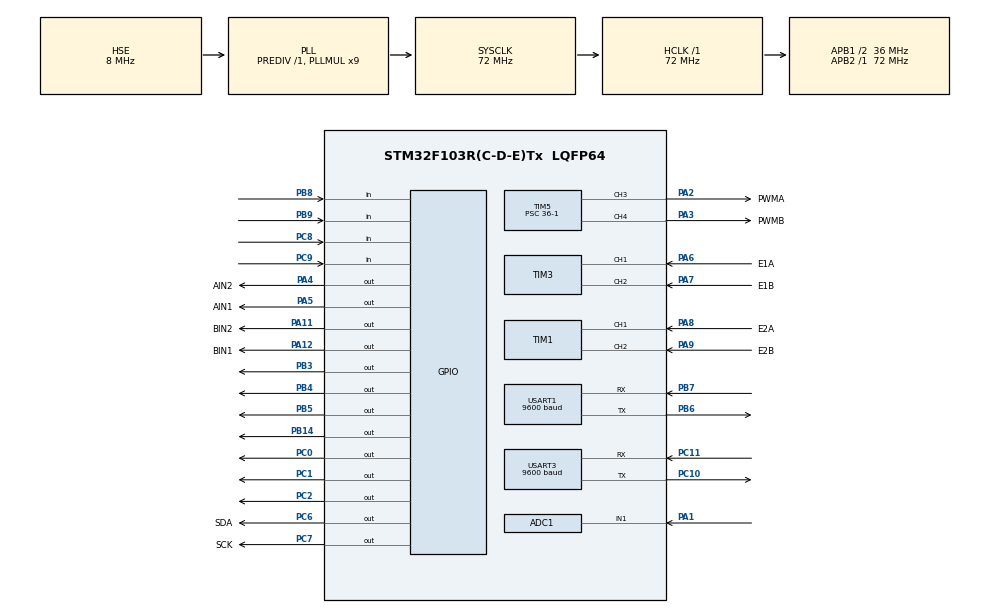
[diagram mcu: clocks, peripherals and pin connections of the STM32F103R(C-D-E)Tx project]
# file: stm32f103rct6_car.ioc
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ADC1.Channel-0\#ChannelRegularConversion=ADC_CHANNEL_1
ADC1.NbrOfConversionFlag=1
ADC1.Rank-0\#ChannelRegularConversion=1
ADC1.SamplingTime-0\#ChannelRegularConversion=ADC_SAMPLETIME_1CYCLE_5
ADC1.master=1
Dma.Request0=USART1_TX
Dma.Request1=USART1_RX
Dma.Request2=USART3_RX
Dma.Request3=USART3_TX
Dma.USART1_RX.1.Direction=DMA_PERIPH_TO_MEMORY
Dma.USART1_RX.1.Instance=DMA1_Channel5
Dma.USART1_RX.1.MemDataAlignment=DMA_MDATAALIGN_BYTE
Dma.USART1_RX.1.MemInc=DMA_MINC_ENABLE
Dma.USART1_RX.1.Mode=DMA_NORMAL
Dma.USART1_RX.1.PeriphDataAlignment=DMA_PDATAALIGN_BYTE
Dma.USART1_RX.1.PeriphInc=DMA_PINC_DISABLE
Dma.USART1_RX.1.Priority=DMA_PRIORITY_LOW
Dma.USART1_TX.0.Direction=DMA_MEMORY_TO_PERIPH
Dma.USART1_TX.0.Instance=DMA1_Channel4
Dma.USART1_TX.0.MemDataAlignment=DMA_MDATAALIGN_BYTE
Dma.USART1_TX.0.MemInc=DMA_MINC_ENABLE
Dma.USART1_TX.0.Mode=DMA_NORMAL
Dma.USART1_TX.0.PeriphDataAlignment=DMA_PDATAALIGN_BYTE
Dma.USART1_TX.0.PeriphInc=DMA_PINC_DISABLE
Dma.USART1_TX.0.Priority=DMA_PRIORITY_LOW
Dma.USART3_RX.2.Direction=DMA_PERIPH_TO_MEMORY
Dma.USART3_RX.2.Instance=DMA1_Channel3
Dma.USART3_RX.2.MemDataAlignment=DMA_MDATAALIGN_BYTE
Dma.USART3_RX.2.MemInc=DMA_MINC_ENABLE
Dma.USART3_RX.2.Mode=DMA_NORMAL
Dma.USART3_RX.2.PeriphDataAlignment=DMA_PDATAALIGN_BYTE
Dma.USART3_RX.2.PeriphInc=DMA_PINC_DISABLE
Dma.USART3_RX.2.Priority=DMA_PRIORITY_LOW
Dma.USART3_TX.3.Direction=DMA_MEMORY_TO_PERIPH
Dma.USART3_TX.3.Instance=DMA1_Channel2
Dma.USART3_TX.3.MemDataAlignment=DMA_MDATAALIGN_BYTE
Dma.USART3_TX.3.MemInc=DMA_MINC_ENABLE
Dma.USART3_TX.3.Mode=DMA_NORMAL
Dma.USART3_TX.3.PeriphDataAlignment=DMA_PDATAALIGN_BYTE
Dma.USART3_TX.3.PeriphInc=DMA_PINC_DISABLE
Dma.USART3_TX.3.Priority=DMA_PRIORITY_LOW
Mcu.Family=STM32F1
Mcu.Name=STM32F103R(C-D-E)Tx
Mcu.Package=LQFP64
NVIC.DMA1_Channel2_IRQn=true\:0\:0\:false\:false\:true\:false\:true\:true
NVIC.DMA1_Channel3_IRQn=true\:0\:0\:false\:false\:true\:false\:true\:true
NVIC.DMA1_Channel4_IRQn=true\:0\:0\:false\:false\:true\:false\:true\:true
NVIC.DMA1_Channel5_IRQn=true\:0\:0\:false\:false\:true\:false\:true\:true
NVIC.PriorityGroup=NVIC_PRIORITYGROUP_4
NVIC.TIM2_IRQn=true\:0\:0\:false\:false\:true\:true\:true\:true
NVIC.USART1_IRQn=true\:0\:0\:false\:false\:true\:true\:true\:true
NVIC.USART3_IRQn=true\:0\:0\:false\:false\:true\:true\:true\:true
PA1.Signal=ADCx_IN1
PA11.GPIO_Label=BIN2
PA11.Signal=GPIO_Output
PA12.GPIO_Label=BIN1
PA12.Signal=GPIO_Output
PA13.Mode=Serial_Wire
PA13.Signal=SYS_JTMS-SWDIO
PA14.Mode=Serial_Wire
PA14.Signal=SYS_JTCK-SWCLK
PA2.GPIO_Label=PWMA
PA2.Signal=S_TIM5_CH3
PA3.GPIO_Label=PWMB
PA3.Signal=S_TIM5_CH4
PA4.GPIO_Label=AIN2
PA4.PinState=GPIO_PIN_SET
PA4.Signal=GPIO_Output
PA5.GPIO_Label=AIN1
PA5.PinState=GPIO_PIN_SET
PA5.Signal=GPIO_Output
PA6.GPIO_Label=E1A
PA6.Signal=S_TIM3_CH1
PA7.GPIO_Label=E1B
PA7.Signal=S_TIM3_CH2
PA8.GPIO_Label=E2A
PA8.Signal=S_TIM1_CH1
PA9.GPIO_Label=E2B
PA9.Signal=S_TIM1_CH2
PB14.PinState=GPIO_PIN_SET
PB14.Signal=GPIO_Output
PB3.GPIO_ModeDefaultOutputPP=GPIO_MODE_OUTPUT_PP
PB3.GPIO_PuPd=GPIO_NOPULL
PB3.PinState=GPIO_PIN_RESET
PB3.Signal=GPIO_Output
PB4.GPIO_ModeDefaultOutputPP=GPIO_MODE_OUTPUT_PP
PB4.GPIO_PuPd=GPIO_NOPULL
PB4.PinState=GPIO_PIN_RESET
PB4.Signal=GPIO_Output
PB5.GPIO_ModeDefaultOutputPP=GPIO_MODE_OUTPUT_PP
PB5.GPIO_PuPd=GPIO_NOPULL
PB5.PinState=GPIO_PIN_RESET
PB5.Signal=GPIO_Output
PB6.Mode=Asynchronous
PB6.Signal=USART1_TX
PB7.Mode=Asynchronous
PB7.Signal=USART1_RX
PB8.GPIO_PuPd=GPIO_PULLUP
PB8.Signal=GPIO_Input
PB9.GPIO_PuPd=GPIO_PULLUP
PB9.Signal=GPIO_Input
PC0.PinState=GPIO_PIN_SET
PC0.Signal=GPIO_Output
PC1.PinState=GPIO_PIN_SET
PC1.Signal=GPIO_Output
PC10.Mode=Asynchronous
PC10.Signal=USART3_TX
PC11.Mode=Asynchronous
PC11.Signal=USART3_RX
PC2.PinState=GPIO_PIN_SET
PC2.Signal=GPIO_Output
PC6.GPIO_Label=SDA
PC6.GPIO_Speed=GPIO_SPEED_FREQ_HIGH
PC6.Signal=GPIO_Output
PC7.GPIO_Label=SCK
PC7.GPIO_Speed=GPIO_SPEED_FREQ_HIGH
PC7.Signal=GPIO_Output
PC8.GPIO_PuPd=GPIO_PULLUP
PC8.Signal=GPIO_Input
PC9.GPIO_PuPd=GPIO_PULLUP
PC9.Signal=GPIO_Input
PD0-OSC_IN.Mode=HSE-External-Oscillator
PD0-OSC_IN.Signal=RCC_OSC_IN
PD1-OSC_OUT.Mode=HSE-External-Oscillator
PD1-OSC_OUT.Signal=RCC_OSC_OUT
ProjectManager.HeapSize=0x200
ProjectManager.StackSize=0x400
ProjectManager.TargetToolchain=MDK-ARM V5.32
RCC.ADCPresc=RCC_ADCPCLK2_DIV6
RCC.AHBFreq_Value=72000000
RCC.APB1CLKDivider=RCC_HCLK_DIV2
RCC.APB1Freq_Value=36000000
RCC.APB1TimFreq_Value=72000000
RCC.APB2Freq_Value=72000000
RCC.APB2TimFreq_Value=72000000
RCC.HCLKFreq_Value=72000000
RCC.PLLMUL=RCC_PLL_MUL9
RCC.PLLSourceVirtual=RCC_PLLSOURCE_HSE
RCC.SYSCLKFreq_VALUE=72000000
RCC.SYSCLKSource=RCC_SYSCLKSOURCE_PLLCLK
RCC.USBFreq_Value=72000000
SH.ADCx_IN1.0=ADC1_IN1,IN1
SH.S_TIM1_CH1.0=TIM1_CH1,Encoder_Interface
SH.S_TIM1_CH2.0=TIM1_CH2,Encoder_Interface
SH.S_TIM3_CH1.0=TIM3_CH1,Encoder_Interface
SH.S_TIM3_CH2.0=TIM3_CH2,Encoder_Interface
SH.S_TIM5_CH3.0=TIM5_CH3,PWM Generation3 CH3
SH.S_TIM5_CH4.0=TIM5_CH4,PWM Generation4 CH4
TIM1.EncoderMode=TIM_ENCODERMODE_TI12
TIM1.IC1Filter=8
TIM1.IC2Filter=8
TIM2.Period=1000-1
TIM2.Prescaler=72-1
TIM3.EncoderMode=TIM_ENCODERMODE_TI12
TIM3.IC1Filter=6
TIM3.IC2Filter=6
TIM5.Channel-PWM\ Generation2\ CH2=TIM_CHANNEL_2
TIM5.Channel-PWM\ Generation3\ CH3=TIM_CHANNEL_3
TIM5.Channel-PWM\ Generation4\ CH4=TIM_CHANNEL_4
TIM5.Period=100-1
TIM5.Prescaler=36-1
USART1.BaudRate=9600
USART1.VirtualMode=VM_ASYNC
USART3.BaudRate=9600
USART3.VirtualMode=VM_ASYNC
VP_TIM2_VS_ClockSourceINT.Mode=Internal
board=custom

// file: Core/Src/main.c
/* USER CODE BEGIN Header */
/**
  ******************************************************************************
  * @file           : main.c
  * @brief          : Main program body
  ******************************************************************************
  * @attention
  *
  * Copyright (c) 2025 STMicroelectronics.
  * All rights reserved.
  *
  * This software is licensed under terms that can be found in the LICENSE file
  * in the root directory of this software component.
  * If no LICENSE file comes with this software, it is provided AS-IS.
  *
  ******************************************************************************
  */
/* USER CODE END Header */
#include "main.h"
#include "adc.h"
#include "dma.h"
#include "tim.h"
#include "usart.h"
#include "gpio.h"

/* USER CODE BEGIN Includes */
#include "headfile.h"
#include <stdlib.h>
#include <stdio.h>
#include <string.h>
/* USER CODE END Includes */

/* USER CODE BEGIN PD */
#define SensorNum 5
#define TARGET_SPEED 15.0f

// USART3/ESP32 safety gate:
// 1) Ignore USART3 input shortly after boot, avoiding ESP32 boot logs/noise.
// 2) Only accept framed car commands, not raw single characters.
#define USART3_STARTUP_IGNORE_MS 2000U
#define ACCEPT_LEGACY_SINGLE_CHAR_CMD 0

// Yaw closed-loop hold for straight forward/backward movement.
// If the car becomes more biased after correction, flip
// YAW_HOLD_FORWARD_REVERSE_CORRECTION between 1 and 0 first.
#define YAW_HOLD_TEST_DISABLED 0
#define YAW_HOLD_DEADBAND_DEG 1.5f
#define YAW_HOLD_CORRECTION_MAX 5.0f
#define YAW_HOLD_INTEGRAL_MAX 80.0f
#define YAW_HOLD_KP 0.30f
#define YAW_HOLD_KI 0.02f
#define YAW_HOLD_KD 0.06f
#define YAW_HOLD_FORWARD_REVERSE_CORRECTION 1
/* USER CODE END PD */

/* USER CODE BEGIN PV */
// 全局变量定义
uint8_t SensorData[8] = {0, 0, 0, 0, 0, 0, 0, 0};
WitAngleData angle;
unsigned char rx_buff[256] = {0};
unsigned short Anolog[8] = {0};
unsigned short white[8] = {1988,1681,1753,1489,2098,2494,2098,1395};
unsigned short black[8] = {225,291,230,294,234,323,239,296};
unsigned short Normal[8];
unsigned char Digtal;

uint8_t KeyNum;
WorkMode_t current_mode = MODE_STOP;  // 当前工作模式
char current_cmd = 'Z';               // 蓝牙当前命令
char display_info[32] = "Stop";       // 显示信息
volatile uint8_t line_follow_update_pending = 0;
volatile uint8_t yaw_hold_update_pending = 0;
volatile uint8_t yaw_hold_enabled = 0;
float yaw_hold_target = 0.0f;
float yaw_hold_last_error = 0.0f;
float yaw_hold_integral = 0.0f;
uint32_t yaw_hold_last_tick = 0;

// PID控制�?
PID Innerpid_L = {
    .Kp = 1.5f, .Ki = 0.01f, .Kd = 0.0f,
    .Error0 = 0.0f, .Error1 = 0.0f, .ErrorInt = 0.0f,
    .OutMax = 150.0f, .OutMin = -150.0f,
    .Target = TARGET_SPEED, .Actual = 0.0f, .Out = 0.0f
};

PID Innerpid_R = {
    .Kp = 1.5f, .Ki = 0.01f, .Kd = 0.0f,
    .Error0 = 0.0f, .Error1 = 0.0f, .ErrorInt = 0.0f,
    .OutMax = 150.0f, .OutMin = -150.0f,
    .Target = TARGET_SPEED, .Actual = 0.0f, .Out = 0.0f
};

PID Outerpid = {
    .Kp = 2.0f, .Ki = 0.0f, .Kd = 0.5f,
    .Error0 = 0.0f, .Error1 = 0.0f, .ErrorInt = 0.0f,
    .OutMax = 30.0f, .OutMin = -30.0f,
    .Target = 0.0f, .Actual = 0.0f, .Out = 0.0f
};

PID imupid = {
    .Kp = 0.5f, .Ki = 0.0f, .Kd = 0.3f,
    .Error0 = 0, .Error1 = 0, .ErrorInt = 0.0f,
    .OutMax = 3.0f, .OutMin = -3.0f,
    .Target = -113.0f, .Actual = -113.0f, .Out = 0.0f
};

/* USER CODE END PV */

void SystemClock_Config(void);
/* USER CODE BEGIN PFP */
void ProcessBluetoothCommand(char cmd);
void ExecuteCommand(char cmd);
void ExecuteLastCommand(void);
void UpdateLineFollowing(void);
void UpdateDisplay(void);
uint8_t TryProcessProtocolFrame(void);
uint8_t TryExtractCarCommand(const char *frame, char *cmd);
void SendCarParams(void);
void SendCarState(char cmd);
const char* GetCommandStateName(char cmd);
void StartYawHold(void);
void StopYawHold(void);
uint8_t IsYawHoldCommand(char cmd);
float NormalizeYawError(float error);
void UpdateYawHoldControl(void);
/* USER CODE END PFP */

int main(void)
{
    /* USER CODE BEGIN 1 */
    uint32_t usart3_accept_tick = 0;
    /* USER CODE END 1 */

    /* MCU Configuration--------------------------------------------------------*/
    HAL_Init();
    SystemClock_Config();

    /* Initialize all configured peripherals */
    MX_GPIO_Init();
    MX_DMA_Init();
    MX_TIM1_Init();
    MX_TIM2_Init();
    MX_TIM3_Init();
    MX_TIM5_Init();
    MX_USART1_UART_Init();
    MX_ADC1_Init();
    MX_USART3_UART_Init();

    /* USER CODE BEGIN 2 */
    // 初始化编码器
    HAL_TIM_Encoder_Start(&htim3, TIM_CHANNEL_ALL);
    HAL_TIM_Encoder_Start(&htim1, TIM_CHANNEL_ALL);

    // 初始化PWM输出
    HAL_TIM_PWM_Start(&htim5, TIM_CHANNEL_3);
    HAL_TIM_PWM_Start(&htim5, TIM_CHANNEL_4);

    // 初始化OLED
    OLED_Init();
    OLED_Update();

    // 初始化串口和蓝牙
    Com_usart_Init();

    // 初始化陀螺仪
    WitMotion_Init(&huart1);
    angle = WitMotion_GetAngle();
    imupid.Target = angle.yaw;
    WitMotion_ConfigOutputRate(RRATE_20HZ);
    WitMotion_ConfigContent(RSW_ANGLE | RSW_GYRO);

    // 设置电机方向
    HAL_GPIO_WritePin(GPIOA, GPIO_PIN_4, GPIO_PIN_RESET);
    HAL_GPIO_WritePin(GPIOA, GPIO_PIN_5, GPIO_PIN_SET);
    HAL_GPIO_WritePin(GPIOA, GPIO_PIN_11, GPIO_PIN_RESET);
    HAL_GPIO_WritePin(GPIOA, GPIO_PIN_12, GPIO_PIN_SET);

    // 初始化占空比
    __HAL_TIM_SET_COMPARE(&htim5, TIM_CHANNEL_3, 0);
    __HAL_TIM_SET_COMPARE(&htim5, TIM_CHANNEL_4, 0);

    // 初始化灰度传感器
    No_MCU_Sensor sensor;
    No_MCU_Ganv_Sensor_Init(&sensor, white, black);
    HAL_Delay(100);
    No_Mcu_Ganv_Sensor_Task_Without_tick(&sensor);
    Digtal = Get_Digtal_For_User(&sensor);

    // 初始化蜂鸣器
    HAL_GPIO_WritePin(GPIOB, GPIO_PIN_14, GPIO_PIN_SET);

    // 启动定时�?
    HAL_TIM_Base_Start_IT(&htim2);

    // 初始状态停止，并丢弃上电阶段 USART3 噪声/ESP32 启动日志
    current_mode = MODE_STOP;
    current_cmd = CMD_STOP;
    StopYawHold();
    MoveStop();
    Bluetooth_SetLastValidCommand(CMD_STOP);
    Bluetooth_ClearFlag();
    usart3_accept_tick = HAL_GetTick() + USART3_STARTUP_IGNORE_MS;

    /* USER CODE END 2 */

    /* Infinite loop */
    while (1)
    {
        // 按键处理
        KeyNum = Key_GetNum();
        if (KeyNum == 1) {
            // 切换到停止模�?
            current_mode = MODE_STOP;
            MoveStop();
            strcpy(display_info, "Stop Mode");
            Bluetooth_SendString("Mode: Stop\r\n");
        } else if (KeyNum == 2) {
            // 手动进入蓝牙控制模式：清掉历史/噪声命令，避免一进模式就误动作。
            current_mode = MODE_BLUETOOTH;
            current_cmd = CMD_STOP;
            StopYawHold();
            MoveStop();
            Bluetooth_SetLastValidCommand(CMD_STOP);
            Bluetooth_ClearFlag();
            strcpy(display_info, "Bluetooth Mode");
            Bluetooth_SendString("Mode: Bluetooth Control\r\n");
        } else if (KeyNum == 3) {
            // 切换到巡线模�?
            current_mode = MODE_LINE_FOLLOWING;
            strcpy(display_info, "Line Following");
            Bluetooth_SendString("Mode: Line Following\r\n");
        }

        // USART3 command processing.
        // - Framed commands such as CAR:F / #F are accepted in any mode.
        // - Legacy raw single-character commands are accepted only after Key 2
        //   manually enters MODE_BLUETOOTH. This keeps manual Bluetooth usable
        //   while preventing boot noise from auto-moving the car.
        if (Bluetooth_DataReady()) {
            if (HAL_GetTick() < usart3_accept_tick) {
                // ESP32 may print boot logs or leave TX unstable during startup.
                // Drop everything before the guard time expires.
                Bluetooth_ClearFlag();
            } else {
                if (TryProcessProtocolFrame()) {
                    Bluetooth_ClearFlag();
                } else {
                    if (current_mode == MODE_BLUETOOTH && Bluetooth_ProcessCommands()) {
                        while (Bluetooth_HasPendingCommands()) {
                            char command = Bluetooth_GetNextCommand();
                            if (command != 0) {
                                ExecuteCommand(command);
                            }
                        }
                    }
                    Bluetooth_ClearFlag();
                }
            }
        }

        // 灰度传感器数据处�?
        No_Mcu_Ganv_Sensor_Task_Without_tick(&sensor);
        Digtal = Get_Digtal_For_User(&sensor);

        // 陀螺仪数据处理
        if (WitMotion_IsDataUpdated()) {
            angle = WitMotion_GetAngle();
            // 可以在这里添加陀螺仪数据处理逻辑
        }

        // 持续执行蓝牙命令（如果没有收到停止命令）
#if 0
        // Disabled for safety: do not repeat the previous motion command
        // after a stop, otherwise a stale/noisy command may move the car again.
        if (current_mode == MODE_BLUETOOTH &&
            Bluetooth_GetLastValidCommand() != CMD_STOP &&
            current_cmd == CMD_STOP) {
            ExecuteLastCommand();
        }
#endif

        if (current_mode == MODE_BLUETOOTH && yaw_hold_update_pending) {
            yaw_hold_update_pending = 0;
            UpdateYawHoldControl();
        }

        // Run line-following control in the main loop when TIM2 schedules it.
        if (current_mode == MODE_LINE_FOLLOWING && line_follow_update_pending) {
            line_follow_update_pending = 0;
            UpdateLineFollowing();
        }

        // 更新显示
        UpdateDisplay();

        HAL_Delay(20);
    }
}

void SystemClock_Config(void)
{
    // 系统时钟配置
    RCC_OscInitTypeDef RCC_OscInitStruct = {0};
    RCC_ClkInitTypeDef RCC_ClkInitStruct = {0};
    RCC_PeriphCLKInitTypeDef PeriphClkInit = {0};

    RCC_OscInitStruct.OscillatorType = RCC_OSCILLATORTYPE_HSE;
    RCC_OscInitStruct.HSEState = RCC_HSE_ON;
    RCC_OscInitStruct.HSEPredivValue = RCC_HSE_PREDIV_DIV1;
    RCC_OscInitStruct.HSIState = RCC_HSI_ON;
    RCC_OscInitStruct.PLL.PLLState = RCC_PLL_ON;
    RCC_OscInitStruct.PLL.PLLSource = RCC_PLLSOURCE_HSE;
    RCC_OscInitStruct.PLL.PLLMUL = RCC_PLL_MUL9;
    HAL_RCC_OscConfig(&RCC_OscInitStruct);

    RCC_ClkInitStruct.ClockType = RCC_CLOCKTYPE_HCLK|RCC_CLOCKTYPE_SYSCLK
                                |RCC_CLOCKTYPE_PCLK1|RCC_CLOCKTYPE_PCLK2;
    RCC_ClkInitStruct.SYSCLKSource = RCC_SYSCLKSOURCE_PLLCLK;
    RCC_ClkInitStruct.AHBCLKDivider = RCC_SYSCLK_DIV1;
    RCC_ClkInitStruct.APB1CLKDivider = RCC_HCLK_DIV2;
    RCC_ClkInitStruct.APB2CLKDivider = RCC_HCLK_DIV1;
    HAL_RCC_ClockConfig(&RCC_ClkInitStruct, FLASH_LATENCY_2);

    PeriphClkInit.PeriphClockSelection = RCC_PERIPHCLK_ADC;
    PeriphClkInit.AdcClockSelection = RCC_ADCPCLK2_DIV6;
    HAL_RCCEx_PeriphCLKConfig(&PeriphClkInit);
}

/* USER CODE BEGIN 4 */

/**
  * @brief 处理蓝牙命令
  */
void StartYawHold(void)
{
    // Lock the current heading as the straight-line target.
    yaw_hold_target = angle.yaw;
    yaw_hold_last_error = 0.0f;
    yaw_hold_integral = 0.0f;
    yaw_hold_last_tick = HAL_GetTick();
    yaw_hold_enabled = 1;
}

void StopYawHold(void)
{
    yaw_hold_enabled = 0;
    yaw_hold_update_pending = 0;
    yaw_hold_last_error = 0.0f;
    yaw_hold_integral = 0.0f;
    yaw_hold_last_tick = 0;
}

uint8_t IsYawHoldCommand(char cmd)
{
    return (cmd == CMD_FORWARD || cmd == CMD_BACKWARD);
}

float NormalizeYawError(float error)
{
    while (error > 180.0f) error -= 360.0f;
    while (error < -180.0f) error += 360.0f;
    return error;
}

void UpdateYawHoldControl(void)
{
    if (!yaw_hold_enabled || !IsYawHoldCommand(current_cmd)) {
        return;
    }

    CarMotionParams_t params = CarMotion_GetParams();
    int base_speed = params.forward_speed;

    uint32_t now = HAL_GetTick();
    float dt = 0.1f;
    if (yaw_hold_last_tick != 0 && now >= yaw_hold_last_tick) {
        dt = (float)(now - yaw_hold_last_tick) / 1000.0f;
        if (dt < 0.01f) dt = 0.01f;
        if (dt > 0.5f) dt = 0.1f;
    }
    yaw_hold_last_tick = now;

    float error = NormalizeYawError(yaw_hold_target - angle.yaw);

    // Small deadband avoids continuous left-right hunting around the target.
    if (error > -YAW_HOLD_DEADBAND_DEG && error < YAW_HOLD_DEADBAND_DEG) {
        yaw_hold_last_error = error;
        yaw_hold_integral = 0.0f;
        if (current_cmd == CMD_FORWARD) {
            SetMotor(base_speed, base_speed);
        } else if (current_cmd == CMD_BACKWARD) {
            SetMotor(-base_speed, -base_speed);
        }
        return;
    }

    yaw_hold_integral += error * dt;
    if (yaw_hold_integral > YAW_HOLD_INTEGRAL_MAX) yaw_hold_integral = YAW_HOLD_INTEGRAL_MAX;
    if (yaw_hold_integral < -YAW_HOLD_INTEGRAL_MAX) yaw_hold_integral = -YAW_HOLD_INTEGRAL_MAX;

    float derivative = (error - yaw_hold_last_error) / dt;
    yaw_hold_last_error = error;

    float correction = YAW_HOLD_KP * error +
                       YAW_HOLD_KI * yaw_hold_integral +
                       YAW_HOLD_KD * derivative;

    if (correction > YAW_HOLD_CORRECTION_MAX) correction = YAW_HOLD_CORRECTION_MAX;
    if (correction < -YAW_HOLD_CORRECTION_MAX) correction = -YAW_HOLD_CORRECTION_MAX;

    int correction_pwm = (correction >= 0.0f) ?
                         (int)(correction + 0.5f) :
                         (int)(correction - 0.5f);

    if (current_cmd == CMD_FORWARD) {
#if YAW_HOLD_FORWARD_REVERSE_CORRECTION
        // Current test direction: positive correction reduces left wheel and
        // increases right wheel. If the car corrects farther away from target,
        // set YAW_HOLD_FORWARD_REVERSE_CORRECTION to 0.
        SetMotor(base_speed - correction_pwm, base_speed + correction_pwm);
#else
        SetMotor(base_speed + correction_pwm, base_speed - correction_pwm);
#endif
    } else if (current_cmd == CMD_BACKWARD) {
        // Backward keeps the previous correction direction because it was
        // reported to be more stable than forward.
        SetMotor(-base_speed - correction_pwm, -base_speed + correction_pwm);
    }
}
uint8_t TryExtractCarCommand(const char *frame, char *cmd)
{
    const char *p = frame;

    if (frame == NULL || cmd == NULL) {
        return 0;
    }

    while (*p == ' ' || *p == '	') {
        p++;
    }

    // Preferred frames from ESP32:
    //   CAR:F\n  CAR:B\n  CAR:L\n  CAR:R\n  CAR:S\n
    if (strncmp(p, "CAR:", 4) == 0) {
        p += 4;
    } else if (*p == '#') {
        // Optional compact frames:
        //   #F\n  #B\n  #L\n  #R\n  #S\n
        p += 1;
    } else {
#if ACCEPT_LEGACY_SINGLE_CHAR_CMD
        // Compatibility mode is intentionally disabled by default because
        // raw characters are too easy to trigger by noise or boot logs.
#else
        return 0;
#endif
    }

    if (p[0] == '\0') {
        return 0;
    }

    // A valid command frame must contain exactly one command character
    // after the prefix, allowing only trailing spaces/tabs.
    char c = p[0];
    p++;
    while (*p == ' ' || *p == '	') {
        p++;
    }
    if (*p != '\0') {
        return 0;
    }

    switch (c) {
        case CMD_FORWARD:
        case CMD_BACKWARD:
        case CMD_LEFT:
        case CMD_RIGHT:
        case CMD_STOP:
            *cmd = c;
            return 1;
        default:
            return 0;
    }
}

uint8_t TryProcessProtocolFrame(void)
{
    char frame[BLUETOOTH_RX_BUFFER_SIZE];
    uint16_t size;

    __disable_irq();
    size = hbluetooth.process_size;
    if (size >= sizeof(frame)) {
        size = sizeof(frame) - 1;
    }
    memcpy(frame, hbluetooth.process_buffer, size);
    __enable_irq();

    frame[size] = '\0';
    for (uint16_t i = 0; i < size; i++) {
        if (frame[i] == '\r' || frame[i] == '\n') {
            frame[i] = '\0';
            break;
        }
    }

    char cmd = 0;
    if (TryExtractCarCommand(frame, &cmd)) {
        if (current_mode != MODE_BLUETOOTH) {
            current_mode = MODE_BLUETOOTH;
            strcpy(display_info, "Voice Control");
        }
        ExecuteCommand(cmd);
        return 1;
    }

    if (strncmp(frame, "GET:PARAM", 9) == 0) {
        SendCarParams();
        return 1;
    }

    int value = 0;
    if (sscanf(frame, "SET:FS=%d", &value) == 1) {
        CarMotion_SetForwardSpeed(value);
        Bluetooth_Printf("ACK:SET:FS=%d\r\n", CarMotion_GetParams().forward_speed);
        SendCarParams();
        return 1;
    }
    if (sscanf(frame, "SET:TS=%d", &value) == 1) {
        CarMotion_SetTurnSpeed(value);
        Bluetooth_Printf("ACK:SET:TS=%d\r\n", CarMotion_GetParams().turn_speed);
        SendCarParams();
        return 1;
    }
    if (sscanf(frame, "SET:DUR=%d", &value) == 1) {
        CarMotion_SetDefaultDuration((uint16_t)value);
        Bluetooth_Printf("ACK:SET:DUR=%d\r\n", (int)CarMotion_GetParams().default_duration_ms);
        SendCarParams();
        return 1;
    }
    if (sscanf(frame, "SET:AUTO=%d", &value) == 1) {
        CarMotion_SetAutoStop(value ? 1 : 0);
        Bluetooth_Printf("ACK:SET:AUTO=%d\r\n", (int)CarMotion_GetParams().auto_stop);
        SendCarParams();
        return 1;
    }

    return 0;
}

void SendCarParams(void)
{
    CarMotionParams_t params = CarMotion_GetParams();
    Bluetooth_Printf("PARAM:FS=%d,TS=%d,DUR=%d,AUTO=%d\r\n",
                     params.forward_speed,
                     params.turn_speed,
                     (int)params.default_duration_ms,
                     (int)params.auto_stop);
}

const char* GetCommandStateName(char cmd)
{
    switch (cmd) {
        case CMD_FORWARD: return "FORWARD";
        case CMD_BACKWARD: return "BACKWARD";
        case CMD_LEFT: return "LEFT";
        case CMD_RIGHT: return "RIGHT";
        case CMD_LEFT_UP: return "LEFT_FORWARD";
        case CMD_RIGHT_UP: return "RIGHT_FORWARD";
        case CMD_LEFT_DOWN: return "LEFT_BACKWARD";
        case CMD_RIGHT_DOWN: return "RIGHT_BACKWARD";
        case CMD_STOP: return "STOP";
        default: return "UNKNOWN";
    }
}

void SendCarState(char cmd)
{
    CarMotionParams_t params = CarMotion_GetParams();
    Bluetooth_Printf("ACK:%c\r\n", cmd);
    Bluetooth_Printf("STATE:%s,FS=%d,TS=%d,YAW=%d,TARGET=%d,HOLD=%d\r\n",
                     GetCommandStateName(cmd),
                     params.forward_speed,
                     params.turn_speed,
                     (int)angle.yaw,
                     (int)yaw_hold_target,
                     (int)yaw_hold_enabled);
}
void ProcessBluetoothCommand(char cmd)
{
    switch(cmd) {
        case CMD_FORWARD:
#if YAW_HOLD_TEST_DISABLED
            StopYawHold();
#else
            StartYawHold();
#endif
            MoveForward();
            strcpy(display_info, "Forward");
            break;
        case CMD_STOP:
            StopYawHold();
            MoveStop();
            strcpy(display_info, "Stop");
            Bluetooth_SetLastValidCommand(CMD_STOP);
            break;
        case CMD_LEFT:
            StopYawHold();
            MoveLeft();
            strcpy(display_info, "Left");
            break;
        case CMD_RIGHT:
            StopYawHold();
            MoveRight();
            strcpy(display_info, "Right");
            break;
        case CMD_BACKWARD:
#if YAW_HOLD_TEST_DISABLED
            StopYawHold();
#else
            StartYawHold();
#endif
            MoveBackward();
            strcpy(display_info, "Backward");
            break;
        case CMD_LEFT_UP:
            StopYawHold();
            MoveLeftUp();
            strcpy(display_info, "Left Up");
            break;
        case CMD_RIGHT_UP:
            StopYawHold();
            MoveRightUp();
            strcpy(display_info, "Right Up");
            break;
        case CMD_LEFT_DOWN:
            StopYawHold();
            MoveLeftDown();
            strcpy(display_info, "Left Down");
            break;
        case CMD_RIGHT_DOWN:
            StopYawHold();
            MoveRightDown();
            strcpy(display_info, "Right Down");
            break;
        default:
            break;
    }

    if(cmd != CMD_STOP) {
        Bluetooth_SetLastValidCommand(cmd);
    }
}

/**
  * @brief 执行蓝牙命令
  */
void ExecuteCommand(char cmd)
{
    current_cmd = cmd;
    ProcessBluetoothCommand(cmd);

    char response[64];
    snprintf(response, sizeof(response), "Exec: %c - %s\r\n", cmd, display_info);
    Bluetooth_SendString(response);
    SendCarState(cmd);
}

/**
  * @brief 执行最后一个有效命�?
  */
void ExecuteLastCommand(void)
{
    char last_cmd = Bluetooth_GetLastValidCommand();
    if(last_cmd != CMD_STOP) {
        current_cmd = last_cmd;
        ProcessBluetoothCommand(last_cmd);
    }
}

/**
  * @brief 更新巡线控制
  */
void UpdateLineFollowing(void)
{
    // 获取灰度传感器数�?
    for(int i = 0; i < 8; i++) {
        SensorData[i] = (Digtal >> i) & 0x01;
    }

    // 更新PID控制�?
    imupid.Actual = angle.yaw;
    PID_Sensor_Update(&Outerpid, SensorData);
    PID_Update(&imupid);

    Innerpid_L.Target = TARGET_SPEED - Outerpid.Out;
    Innerpid_R.Target = TARGET_SPEED + Outerpid.Out;

    Innerpid_L.Actual = GetLeftEncoder();
    Innerpid_R.Actual = GetRightEncoder();

    PID_Update(&Innerpid_L);
    PID_Update(&Innerpid_R);

    // SetMotor handles direction pins and clamps signed PID output to PWM range.
    SetMotor((int)Innerpid_L.Out, (int)Innerpid_R.Out);
}

/**
  * @brief 更新显示
  */
void UpdateDisplay(void)
{
    OLED_Clear();

    // 显示模式信息
    switch(current_mode) {
        case MODE_BLUETOOTH:
            OLED_Printf(0, 0, OLED_8X16, "Mode: Bluetooth");
            OLED_Printf(0, 16, OLED_8X16, "Cmd: %c", current_cmd);
            OLED_Printf(0, 32, OLED_8X16, "State: %s", display_info);
            break;
        case MODE_LINE_FOLLOWING:
            OLED_Printf(0, 0, OLED_8X16, "Mode: Line Follow");
            OLED_Printf(0, 16, OLED_8X16, "Sensor: %d%d%d%d",
                       SensorData[0], SensorData[1], SensorData[2], SensorData[3]);
            break;
        case MODE_STOP:
            OLED_Printf(0, 0, OLED_8X16, "Mode: Stop");
            break;
    }

    // 显示传感器数�?
    OLED_Printf(0, 48, OLED_6X8, "Yaw: %.1f", angle.yaw);

    OLED_Update();
}

/**
  * @brief 定时器中断回调函�?
  */
void HAL_TIM_PeriodElapsedCallback(TIM_HandleTypeDef *htim)
{
    if(htim->Instance == TIM2) {
        Key_Tick();

        static int Count_10ms = 0;
        Count_10ms++;

        if(Count_10ms >= 10) {
            Count_10ms = 0;

            // Schedule control work outside the interrupt to avoid PID re-entry.
            if(current_mode == MODE_LINE_FOLLOWING) {
                line_follow_update_pending = 1;
            } else if(current_mode == MODE_BLUETOOTH && yaw_hold_enabled && IsYawHoldCommand(current_cmd)) {
                yaw_hold_update_pending = 1;
            }
    }
}
}

/* USER CODE END 4 */

void Error_Handler(void)
{
    __disable_irq();
    while (1) {}
}
